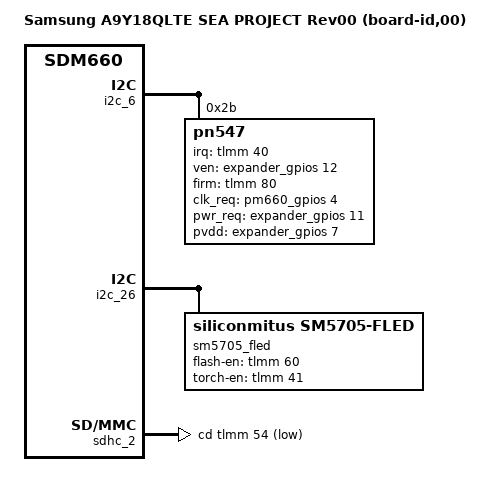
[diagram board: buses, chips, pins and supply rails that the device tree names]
/*
 * Copyright (c) 2017, The Linux Foundation. All rights reserved.
 *
 * This program is free software; you can redistribute it and/or modify
 * it under the terms of the GNU General Public License version 2 and
 * only version 2 as published by the Free Software Foundation.
 *
 * This program is distributed in the hope that it will be useful,
 * but WITHOUT ANY WARRANTY; without even the implied warranty of
 * MERCHANTABILITY or FITNESS FOR A PARTICULAR PURPOSE.  See the
 * GNU General Public License for more details.
 */


/dts-v1/;

#include "../qcom/sdm660.dtsi"
#include "../qcom/sdm660-mtp.dtsi"
#include "../qcom/msm-pm660a.dtsi"

#include "sdm660-sec-common.dtsi"
#include "sdm660-sec-a9y18qlte-audio.dtsi"
#include "sdm660-sec-a9y18qlte-swa-r00.dtsi"
#include "sdm660-sec-a9y18qlte-swa-pinctrl-r00.dtsi"
#include "sdm660-sec-a9y18qlte-display-r00.dtsi"
#include "sdm660-sec-a9y18qlte-battery-common.dtsi"
#include "sdm660-sec-a9y18qlte-muic-common.dtsi"
#include "sdm660-sec-a9y18qlte-swa-fingerprint-sensor_00.dtsi"
#include "sdm660-camera-sensor-a9y18qlte_swa-r00.dtsi"
#include "../../../../drivers/leds/tuning/a9y18qlte_led_tuning-r00.dtsi"

/ {
	model = "Samsung A9Y18QLTE SEA PROJECT Rev00 (board-id,00)";
	compatible = "qcom,sdm660-mtp", "qcom,sdm660", "qcom,mtp";
	qcom,board-id = <8 0>;
};

&soc {
	i2c_6: i2c@c1b6000 { /* BLSP2 QUP2 */
		status = "okay";

		pn547@2B {
			compatible = "pn547";
			reg = <0x2B>;
			interrupt-parent = <&tlmm>;
			interrupts = <40 0>;
			pn547,irq-gpio = <&tlmm 40 0>;
			pn547,ven-gpio = <&expander_gpios 12 0>;
			pn547,firm-gpio = <&tlmm 80 0>;
			pn547,clk_req-gpio = <&pm660_gpios 4 0x00>;
			pn547,pwr_req =  <&expander_gpios 11 0>;
			pn547,pvdd-gpio = <&expander_gpios 7 0>;
			pn547,nfc_pm_clk;
			qcom,clk-src = "BBCLK3";
			clocks = <&clock_rpmcc RPM_LN_BB_CLK3_PIN>;
			clock-names = "rf_clk";
		};
	};

	i2c_26: i2c@26 {
		sm5705_fled {
			compatible = "siliconmitus,sm5705-fled";
			enable = <1 1>;
			id= <0>;
			status = "okay";
			flash-mode-current-mA = <1500>;
			torch-mode-current-mA = <220>;
			preflash-mode-current-mA = <220>;
			used-gpio-control = <1>;
			flash-en-gpio = <&tlmm 60 0x00>;
			torch-en-gpio = <&tlmm 41 0x00>;
		};
	};
};

&sdhc_2 {
	cd-gpios = <&tlmm 54 0x1>;
};
